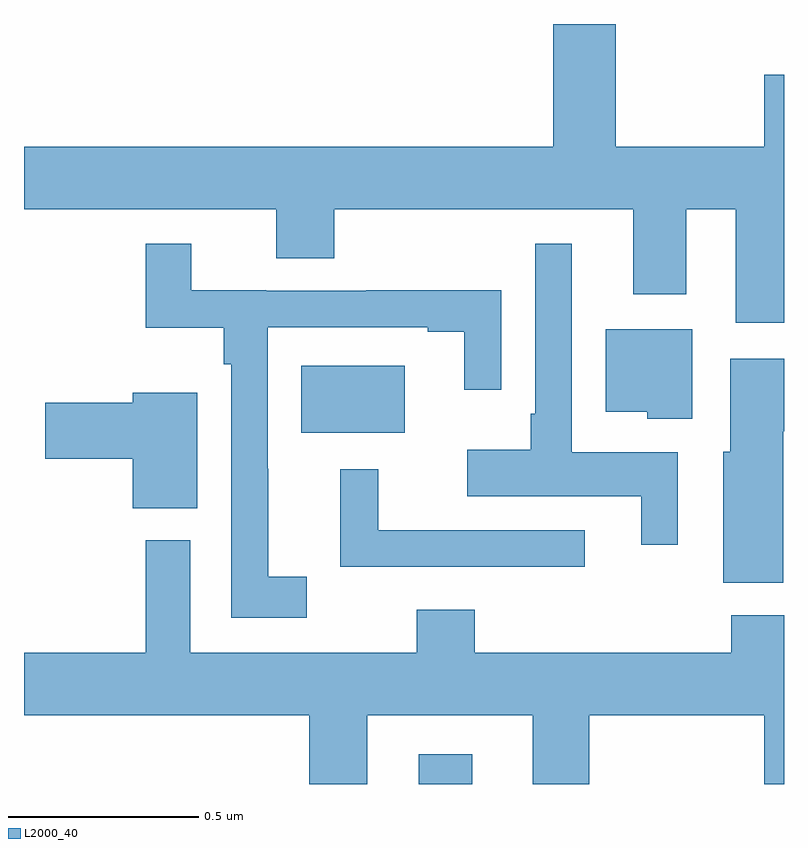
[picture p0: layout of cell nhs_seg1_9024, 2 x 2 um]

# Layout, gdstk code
import gdstk
lib = gdstk.Library(unit=1e-6, precision=1e-09)
def R(c, l, rs):  # rectangles x0, y0, x1, y1
    for r in rs: c.add(gdstk.rectangle(r[:2], r[2:], *l))
def P(c, l, *ps):  # polygons
    for p in ps: c.add(gdstk.Polygon(p, *l))
L2000_40 = (2000, 40)

nhs_seg1_9024 = lib.new_cell('nhs_seg1_9024')
R(nhs_seg1_9024, L2000_40, [(224.039,570.199,224.179,570.277), (223.73,571.124,224.002,571.3)])
P(nhs_seg1_9024, L2000_40, [(225,572.065),(224.948,572.065),(224.948,571.876),(224.557,571.876),(224.557,572.199),(224.393,572.199),(224.393,571.876),(223,571.876),(223,571.712),(223.664,571.712),(223.664,571.582),(223.817,571.582),(223.817,571.712),(224.603,571.712),(224.603,571.488),(224.743,571.488),(224.743,571.712),(224.873,571.712),(224.873,571.413),(225,571.413)],
  [(223.744,570.745),(223.643,570.745),(223.643,571.028),(223.641,571.028),(223.641,571.401),(224.063,571.401),(224.063,571.389),(224.159,571.389),(224.159,571.236),(224.256,571.236),(224.256,571.499),(223.9,571.499),(223.9,571.497),(223.638,571.497),(223.638,571.499),(223.44,571.499),(223.44,571.621),(223.321,571.621),(223.321,571.4),(223.525,571.4),(223.525,571.304),(223.545,571.304),(223.545,570.636),(223.744,570.636)],
  [(224.721,571.072),(224.442,571.072),(224.442,571.621),(224.346,571.621),(224.346,571.174),(224.334,571.174),(224.334,571.078),(224.166,571.078),(224.166,570.956),(224.624,570.956),(224.624,570.828),(224.721,570.828)],
  [(224.758,571.396),(224.531,571.396),(224.531,571.178),(224.64,571.178),(224.64,571.16),(224.758,571.16)],
  [(224.998,571.127),(225,571.127),(225,571.318),(224.858,571.318),(224.858,571.074),(224.84,571.074),(224.84,570.728),(224.998,570.728)],
  [(223.456,571.228),(223.286,571.228),(223.286,571.202),(223.056,571.202),(223.056,571.055),(223.286,571.055),(223.286,570.925),(223.456,570.925)],
  [(224.476,570.867),(223.932,570.867),(223.932,571.027),(223.832,571.027),(223.832,570.771),(224.476,570.771)],
  [(223.903,570.38),(224.339,570.38),(224.339,570.199),(224.487,570.199),(224.487,570.38),(224.948,570.38),(224.948,570.199),(225,570.199),(225,570.643),(224.861,570.643),(224.861,570.544),(224.186,570.544),(224.186,570.658),(224.033,570.658),(224.033,570.544),(223.437,570.544),(223.437,570.84),(223.321,570.84),(223.321,570.544),(223,570.544),(223,570.38),(223.751,570.38),(223.751,570.199),(223.903,570.199)])

lib.write_gds('nhs_seg1_9024.gds')
